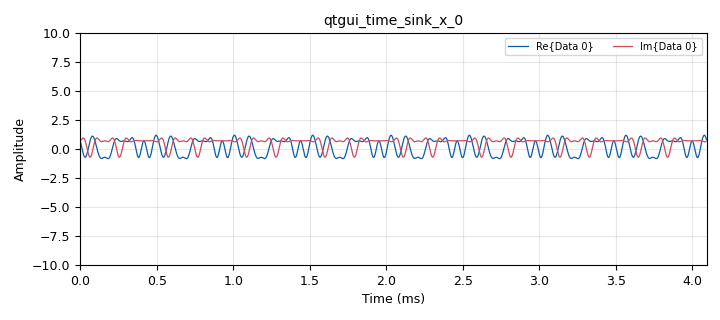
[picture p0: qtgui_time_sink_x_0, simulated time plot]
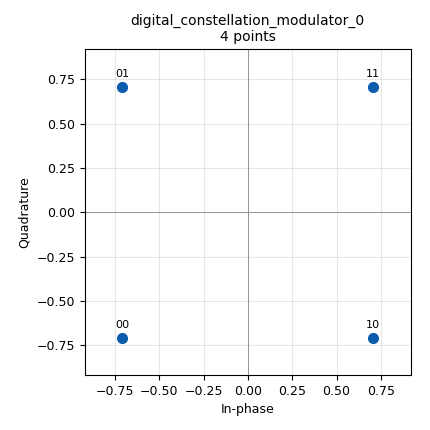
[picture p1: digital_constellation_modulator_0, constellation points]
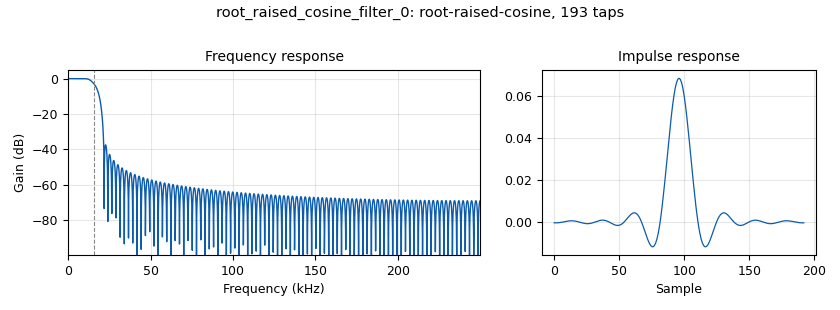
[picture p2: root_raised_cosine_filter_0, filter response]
options:
  parameters:
    author: sdr
    generate_options: qt_gui
    id: HLS_QPSK_Modulator
    output_language: python
    title: Not titled yet
  states: {}

blocks:
- name: QPSK_Constellation
  id: variable_constellation_rect
  parameters:
    const_points: '[-1-1j, -1+1j, 1+1j, 1-1j]'
    imag_sect: '2'
    real_sect: '2'
    rot_sym: '4'
    sym_map: '[0, 1, 3, 2]'
    w_imag_sect: '1'
    w_real_sect: '1'
  states: {}
- name: freq_off
  id: variable_qtgui_range
  parameters:
    label: Frequency  Offset
    start: '0'
    step: '10'
    stop: '5000'
    value: '0'
  states: {}
- name: samp_rate
  id: variable
  parameters:
    value: 500e3
  states: {}
- name: analog_random_source_x_0
  id: analog_random_source_x
  parameters:
    max: '3'
    min: '0'
    num_samps: '1000'
    repeat: 'True'
    type: byte
  states: {state: disabled}
- name: analog_sig_source_x_0
  id: analog_sig_source_x
  parameters:
    amp: '1'
    freq: freq_off
    offset: '0'
    phase: '0'
    samp_rate: samp_rate
    type: complex
    waveform: analog.GR_COS_WAVE
  states: {}
- name: blocks_file_source_0
  id: blocks_file_source
  parameters:
    file: /home/sdr/workspace/puch-workspace/HLS-QPSK-Demod-Baseband_002/fpga/lib/HLS_QPSK_Demod/sim/0xDEADBEEF_Rx_Samps.bin
    repeat: 'True'
    type: complex
  states: {state: disabled}
- name: blocks_multiply_xx_0
  id: blocks_multiply_xx
  parameters:
    type: complex
  states: {}
- name: blocks_throttle2_0
  id: blocks_throttle2
  parameters:
    samples_per_second: samp_rate
    type: byte
  states: {}
- name: blocks_vector_source_x_0
  id: blocks_vector_source_x
  parameters:
    comment: '0xDE AD BE EF reversed: 0xF7 7D B5 7B'
    repeat: 'True'
    type: byte
    vector: (0xF7, 0x7D, 0xB5, 0x7B)
  states: {state: disabled}
- name: digital_constellation_modulator_0
  id: digital_constellation_modulator
  parameters:
    constellation: QPSK_Constellation
    differential: 'False'
    excess_bw: '0.35'
    samples_per_symbol: '16'
  states: {}
- name: epy_block_0
  id: epy_block
  parameters:
    _source_code: |
      """
      """

      import numpy as np
      from gnuradio import gr


      class blk(gr.sync_block):  # other base classes are basic_block, decim_block, interp_block
          """0xDEADBEEF Generator"""

          def __init__(self):  # only default arguments here
              """arguments to this function show up as parameters in GRC"""
              gr.sync_block.__init__(
                  self,
                  name='0xDEADBEEF Generator',   # will show up in GRC
                  in_sig=None,
                  out_sig=[np.byte]
              )
              self.index = 0
              # if an attribute with the same name as a parameter is found,
              # a callback is registered (properties work, too).
              #self.example_param = example_param

          def work(self, input_items, output_items):
              #   hex_msg = "DEADBEEF"
              #   bin_msg = bin(int(hex_msg,16))[2:].zfill(32)
              #   bin_msg = bin_msg[::-1] # LSB transmitted first
              #   h = hex(int(bin_msg,2))
              #   h = h[2:]
              #   h = bytes.fromhex(h)
              h = bytearray([0xF7, 0x7D, 0xB5, 0x7B])
              t = np.tile(h,64)
              output_items[0][:] = t
              #print(t)
              return len(output_items[0])
    maxoutbuf: '256'
    minoutbuf: '256'
  states: {}
- name: qtgui_const_sink_x_0
  id: qtgui_const_sink_x
  parameters:
    grid: 'True'
    size: '1024'
    type: complex
  states: {state: disabled}
- name: qtgui_time_sink_x_0
  id: qtgui_time_sink_x
  parameters:
    ctrlpanel: 'True'
    grid: 'True'
    size: '2048'
    srate: samp_rate
    type: complex
    ymax: '10'
    ymin: '-10'
  states: {}
- name: root_raised_cosine_filter_0
  id: root_raised_cosine_filter
  parameters:
    alpha: '0.35'
    decim: '1'
    gain: '1'
    ntaps: '193'
    samp_rate: samp_rate
    sym_rate: samp_rate/16
    type: fir_filter_ccf
  states: {}
- name: zeromq_pull_source_0
  id: zeromq_pull_source
  parameters:
    address: tcp://192.168.1.233:20000
    timeout: '1000'
    type: complex
  states: {state: disabled}
- name: zeromq_push_sink_0
  id: zeromq_push_sink
  parameters:
    address: tcp://192.168.1.13:10000
    timeout: '1000'
    type: complex
  states: {}

connections:
- [analog_random_source_x_0, '0', blocks_throttle2_0, '0']
- [analog_sig_source_x_0, '0', blocks_multiply_xx_0, '0']
- [blocks_file_source_0, '0', blocks_multiply_xx_0, '1']
- [blocks_multiply_xx_0, '0', qtgui_time_sink_x_0, '0']
- [blocks_multiply_xx_0, '0', zeromq_push_sink_0, '0']
- [blocks_throttle2_0, '0', digital_constellation_modulator_0, '0']
- [blocks_vector_source_x_0, '0', blocks_throttle2_0, '0']
- [digital_constellation_modulator_0, '0', root_raised_cosine_filter_0, '0']
- [epy_block_0, '0', blocks_throttle2_0, '0']
- [root_raised_cosine_filter_0, '0', blocks_multiply_xx_0, '1']
- [zeromq_pull_source_0, '0', qtgui_const_sink_x_0, '0']

metadata:
  file_format: 1
  grc_version: 3.10.9.2
